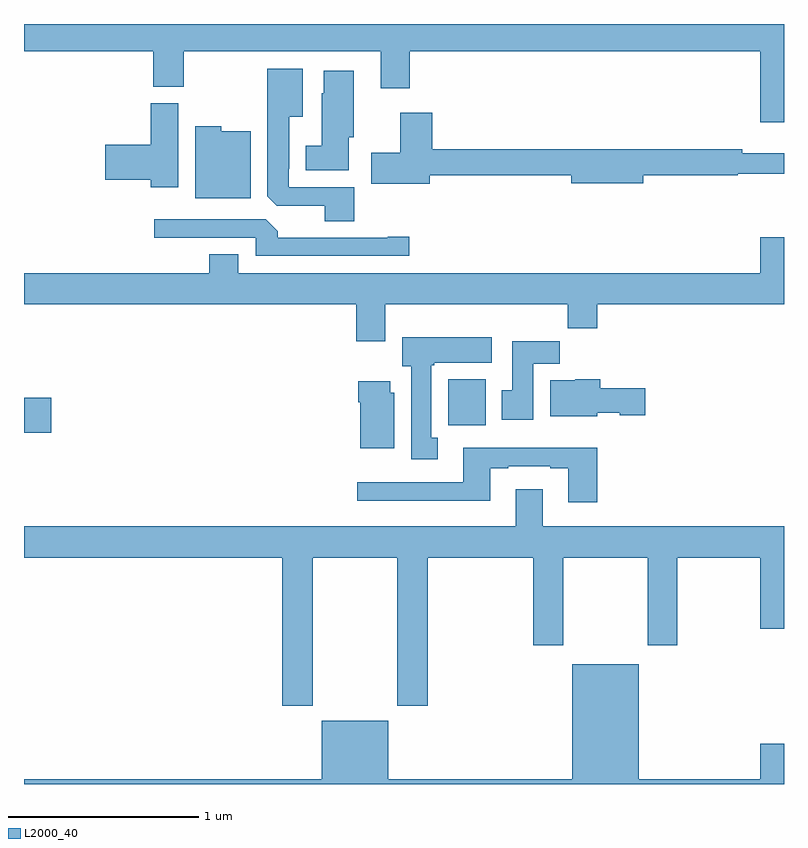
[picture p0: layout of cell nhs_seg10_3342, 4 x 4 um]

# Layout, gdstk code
import gdstk
lib = gdstk.Library(unit=1e-6, precision=1e-09)
def R(c, l, rs):  # rectangles x0, y0, x1, y1
    for r in rs: c.add(gdstk.rectangle(r[:2], r[2:], *l))
def P(c, l, *ps):  # polygons
    for p in ps: c.add(gdstk.Polygon(p, *l))
L2000_40 = (2000, 40)

nhs_seg10_3342 = lib.new_cell('nhs_seg10_3342')
R(nhs_seg10_3342, L2000_40, [(293,1258.349,293.143,1258.532), (295.232,1258.388,295.429,1258.63)])
P(nhs_seg10_3342, L2000_40, [(297,1260.5),(293,1260.5),(293,1260.356),(293.681,1260.356),(293.681,1260.169),(293.841,1260.169),(293.841,1260.356),(294.878,1260.356),(294.878,1260.162),(295.031,1260.162),(295.031,1260.356),(296.876,1260.356),(296.876,1259.982),(297,1259.982)],
  [(294.737,1259.64),(294.393,1259.64),(294.393,1259.737),(294.397,1259.737),(294.397,1260.011),(294.466,1260.011),(294.466,1260.265),(294.281,1260.265),(294.281,1259.593),(294.33,1259.544),(294.584,1259.544),(294.584,1259.461),(294.737,1259.461)],
  [(294.709,1259.904),(294.736,1259.904),(294.736,1260.253),(294.578,1260.253),(294.578,1260.135),(294.566,1260.135),(294.566,1259.86),(294.482,1259.86),(294.482,1259.729),(294.709,1259.729)],
  [(293.812,1260.084),(293.666,1260.084),(293.666,1259.864),(293.427,1259.864),(293.427,1259.681),(293.666,1259.681),(293.666,1259.64),(293.812,1259.64)],
  [(295.135,1259.704),(295.88,1259.704),(295.88,1259.662),(296.26,1259.662),(296.26,1259.704),(296.756,1259.704),(296.756,1259.712),(297,1259.712),(297,1259.821),(296.78,1259.821),(296.78,1259.84),(295.148,1259.84),(295.148,1260.034),(294.98,1260.034),(294.98,1259.823),(294.828,1259.823),(294.828,1259.66),(295.135,1259.66)],
  [(294.193,1259.935),(294.039,1259.935),(294.039,1259.962),(293.9,1259.962),(293.9,1259.582),(294.193,1259.582)],
  [(295.027,1259.381),(294.914,1259.381),(294.914,1259.376),(294.335,1259.376),(294.335,1259.41),(294.273,1259.472),(293.685,1259.472),(293.685,1259.376),(294.219,1259.376),(294.219,1259.28),(295.027,1259.28)],
  [(294.901,1259.024),(295.861,1259.024),(295.861,1258.9),(296.018,1258.9),(296.018,1259.024),(297,1259.024),(297,1259.377),(296.876,1259.377),(296.876,1259.188),(294.127,1259.188),(294.127,1259.287),(293.975,1259.287),(293.975,1259.188),(293,1259.188),(293,1259.024),(294.749,1259.024),(294.749,1258.83),(294.901,1258.83)],
  [(295.177,1258.322),(295.144,1258.322),(295.144,1258.705),(295.158,1258.705),(295.158,1258.718),(295.462,1258.718),(295.462,1258.852),(294.992,1258.852),(294.992,1258.698),(295.037,1258.698),(295.037,1258.209),(295.177,1258.209)],
  [(295.681,1258.712),(295.82,1258.712),(295.82,1258.831),(295.571,1258.831),(295.571,1258.572),(295.514,1258.572),(295.514,1258.416),(295.681,1258.416)],
  [(296.016,1258.454),(296.136,1258.454),(296.136,1258.442),(296.269,1258.442),(296.269,1258.584),(296.033,1258.584),(296.033,1258.63),(295.902,1258.63),(295.902,1258.624),(295.769,1258.624),(295.769,1258.436),(296.016,1258.436)],
  [(294.949,1258.56),(294.928,1258.56),(294.928,1258.621),(294.758,1258.621),(294.758,1258.508),(294.77,1258.508),(294.77,1258.268),(294.949,1258.268)],
  [(296.018,1258.27),(295.313,1258.27),(295.313,1258.089),(294.753,1258.089),(294.753,1257.992),(295.453,1257.992),(295.453,1258.161),(295.549,1258.161),(295.549,1258.173),(295.769,1258.173),(295.769,1258.161),(295.865,1258.161),(295.865,1257.984),(296.018,1257.984)],
  [(294.519,1257.692),(294.964,1257.692),(294.964,1256.913),(295.124,1256.913),(295.124,1257.692),(295.679,1257.692),(295.679,1257.231),(295.839,1257.231),(295.839,1257.692),(296.284,1257.692),(296.284,1257.231),(296.439,1257.231),(296.439,1257.692),(296.876,1257.692),(296.876,1257.318),(297,1257.318),(297,1257.856),(295.729,1257.856),(295.729,1258.051),(295.589,1258.051),(295.589,1257.856),(293,1257.856),(293,1257.692),(294.359,1257.692),(294.359,1256.913),(294.519,1256.913)],
  [(293,1256.5),(297,1256.5),(297,1256.713),(296.876,1256.713),(296.876,1256.524),(296.236,1256.524),(296.236,1257.13),(295.886,1257.13),(295.886,1256.524),(294.916,1256.524),(294.916,1256.833),(294.566,1256.833),(294.566,1256.524),(293,1256.524)])

lib.write_gds('nhs_seg10_3342.gds')
